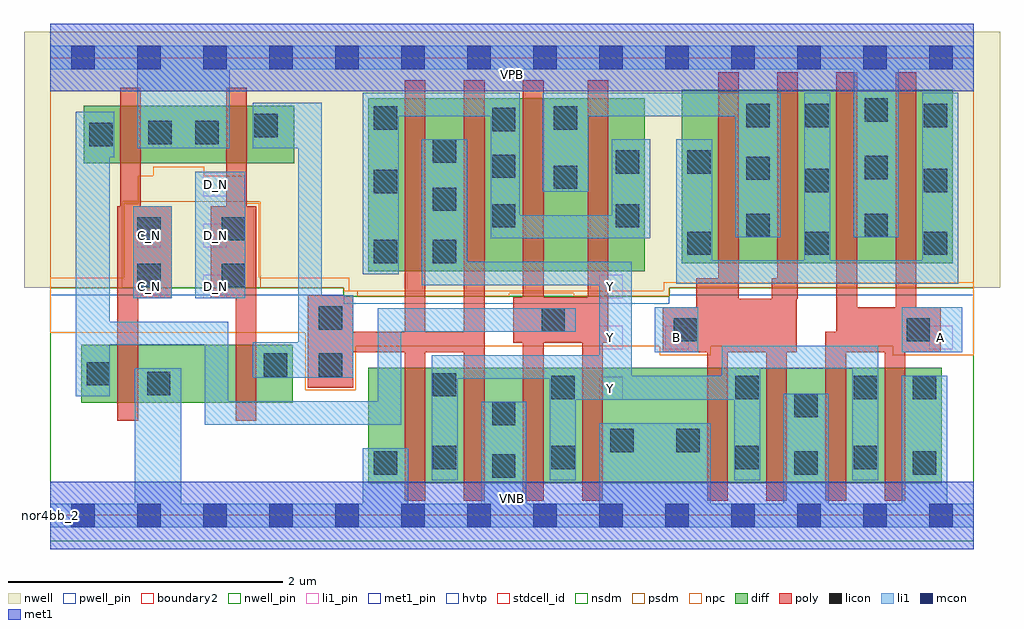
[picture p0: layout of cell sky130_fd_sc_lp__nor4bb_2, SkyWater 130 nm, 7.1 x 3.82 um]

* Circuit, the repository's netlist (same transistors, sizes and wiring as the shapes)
* Copyright 2020 The SkyWater PDK Authors
*
* Licensed under the Apache License, Version 2.0 (the "License");
* you may not use this file except in compliance with the License.
* You may obtain a copy of the License at
*
*     https://www.apache.org/licenses/LICENSE-2.0
*
* Unless required by applicable law or agreed to in writing, software
* distributed under the License is distributed on an "AS IS" BASIS,
* WITHOUT WARRANTIES OR CONDITIONS OF ANY KIND, either express or implied.
* See the License for the specific language governing permissions and
* limitations under the License.
*
* SPDX-License-Identifier: Apache-2.0

.SUBCKT sky130_fd_sc_lp__nor4bb_2 A B C_N D_N VGND VNB VPB VPWR Y
*.PININFO A:I B:I C_N:I D_N:I VGND:I VNB:I VPB:I VPWR:I Y:O
MMP0 VPWR A sndPA VPB sky130_fd_pr__pfet_01v8_hvt m=2 w=1.26U l=0.15U mult=1 sa=0.265
+ sb=0.265 sd=0.28 area=0.063 perim=1.14
MMP1 sndPA B sndPB VPB sky130_fd_pr__pfet_01v8_hvt m=2 w=1.26U l=0.15U mult=1 sa=0.265
+ sb=0.265 sd=0.28 area=0.063 perim=1.14
MMP2 sndPB C sndPC VPB sky130_fd_pr__pfet_01v8_hvt m=2 w=1.26U l=0.15U mult=1 sa=0.265
+ sb=0.265 sd=0.28 area=0.063 perim=1.14
MMP3 sndPC D Y VPB sky130_fd_pr__pfet_01v8_hvt m=2 w=1.26U l=0.15U mult=1 sa=0.265
+ sb=0.265 sd=0.28 area=0.063 perim=1.14
MMIP2 C C_N VPWR VPB sky130_fd_pr__pfet_01v8_hvt m=1 w=0.42U l=0.15U mult=1 sa=0.265
+ sb=0.265 sd=0.28 area=0.063 perim=1.14
MMIP3 D D_N VPWR VPB sky130_fd_pr__pfet_01v8_hvt m=1 w=0.42U l=0.15U mult=1 sa=0.265
+ sb=0.265 sd=0.28 area=0.063 perim=1.14
MMN0 Y A VGND VNB sky130_fd_pr__nfet_01v8 m=2 w=0.84U l=0.15U mult=1 sa=0.265 sb=0.265
+ sd=0.28 area=0.063 perim=1.14
MMN1 Y B VGND VNB sky130_fd_pr__nfet_01v8 m=2 w=0.84U l=0.15U mult=1 sa=0.265 sb=0.265
+ sd=0.28 area=0.063 perim=1.14
MMN2 Y C VGND VNB sky130_fd_pr__nfet_01v8 m=2 w=0.84U l=0.15U mult=1 sa=0.265 sb=0.265
+ sd=0.28 area=0.063 perim=1.14
MMN3 Y D VGND VNB sky130_fd_pr__nfet_01v8 m=2 w=0.84U l=0.15U mult=1 sa=0.265 sb=0.265
+ sd=0.28 area=0.063 perim=1.14
MMIN2 C C_N VGND VNB sky130_fd_pr__nfet_01v8 m=1 w=0.42U l=0.15U mult=1 sa=0.265
+ sb=0.265 sd=0.28 area=0.063 perim=1.14
MMIN3 D D_N VGND VNB sky130_fd_pr__nfet_01v8 m=1 w=0.42U l=0.15U mult=1 sa=0.265
+ sb=0.265 sd=0.28 area=0.063 perim=1.14
.ENDS sky130_fd_sc_lp__nor4bb_2

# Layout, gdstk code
import gdstk
lib = gdstk.Library(unit=1e-6, precision=1e-09)
def R(c, l, rs):  # rectangles x0, y0, x1, y1
    for r in rs: c.add(gdstk.rectangle(r[:2], r[2:], *l))
def A(c, l, x, y, w, h, nx, ny, dx, dy):  # array of equal rectangles
    R(c, l, [(x+i*dx, y+j*dy, x+i*dx+w, y+j*dy+h) for i in range(nx) for j in range(ny)])
def P(c, l, *ps):  # polygons
    for p in ps: c.add(gdstk.Polygon(p, *l))
nwell_pin = (64, 16)
nwell = (64, 20)
diff = (65, 20)
poly = (66, 20)
licon = (66, 44)
li1_pin = (67, 16)
li1 = (67, 20)
mcon = (67, 44)
met1_pin = (68, 16)
met1 = (68, 20)
hvtp = (78, 44)
stdcell_id = (81, 4)
nsdm = (93, 44)
psdm = (94, 20)
npc = (95, 20)
pwell_pin = (122, 16)
boundary2 = (236, 0)

sky130_fd_sc_lp__nor4bb_ = lib.new_cell('sky130_fd_sc_lp__nor4bb_2')
R(sky130_fd_sc_lp__nor4bb_, nwell_pin, [(0,3.085,6.72,3.33)])
P(sky130_fd_sc_lp__nor4bb_, nwell, [(6.91,3.52),(-0.19,3.52),(-0.19,1.655),(2.135,1.655),(2.135,1.595),(4.505,1.595),(4.505,1.655),(6.91,1.655)])
R(sky130_fd_sc_lp__nor4bb_, diff, [(2.315,0.235,6.485,1.075), (0.225,0.82,1.765,1.24), (2.315,1.775,4.325,3.035), (4.595,1.835,6.565,3.095), (0.245,2.56,1.775,2.98)])
P(sky130_fd_sc_lp__nor4bb_, poly, [(0.885,2.25),(0.66,2.25),(0.66,3.11),(0.51,3.11),(0.51,2.25),(0.49,2.25),(0.49,0.69),(0.64,0.69),(0.64,1.58),(0.885,1.58)],
  [(1.5,2.25),(1.43,2.25),(1.43,3.11),(1.28,3.11),(1.28,2.25),(1.17,2.25),(1.17,1.58),(1.35,1.58),(1.35,0.69),(1.5,0.69)],
  [(3.16,3.165),(3.01,3.165),(3.01,1.335),(2.73,1.335),(2.73,3.165),(2.58,3.165),(2.58,1.335),(2.205,1.335),(2.205,1.6),(1.875,1.6),(1.875,0.93),(2.205,0.93),(2.205,1.185),(2.58,1.185),(2.58,0.105),(2.73,0.105),(2.73,1.185),(3.01,1.185),(3.01,0.105),(3.16,0.105)],
  [(4.06,3.165),(3.91,3.165),(3.91,1.585),(3.59,1.585),(3.59,3.165),(3.44,3.165),(3.44,1.585),(3.37,1.585),(3.37,1.255),(3.44,1.255),(3.44,0.105),(3.59,0.105),(3.59,1.255),(3.87,1.255),(3.87,0.105),(4.02,0.105),(4.02,1.255),(4.06,1.255)],
  [(5.44,3.225),(5.29,3.225),(5.29,1.725),(5.25,1.725),(5.25,1.575),(5.01,1.575),(5.01,3.225),(4.86,3.225),(4.86,1.725),(4.7,1.725),(4.7,1.515),(4.455,1.515),(4.455,1.185),(4.78,1.185),(4.78,0.105),(4.93,0.105),(4.93,1.185),(5.21,1.185),(5.21,0.105),(5.36,0.105),(5.36,1.185),(5.43,1.185),(5.43,1.575),(5.44,1.575)],
  [(6.48,1.515),(6.3,1.515),(6.3,3.225),(6.15,3.225),(6.15,1.515),(5.87,1.515),(5.87,3.225),(5.72,3.225),(5.72,1.335),(5.64,1.335),(5.64,0.105),(5.79,0.105),(5.79,1.185),(6.07,1.185),(6.07,0.105),(6.22,0.105),(6.22,1.185),(6.48,1.185)])
A(sky130_fd_sc_lp__nor4bb_, licon, 4.635, 1.895, 0.17, 0.17, 3, 1, 0.86, 0)
A(sky130_fd_sc_lp__nor4bb_, licon, 5.925, 2.025, 0.17, 0.17, 1, 3, 0, 0.42)
R(sky130_fd_sc_lp__nor4bb_, licon, [(3.215,0.275,3.385,0.445), (2.355,0.295,2.525,0.465), (5.415,0.295,5.585,0.465), (6.275,0.295,6.445,0.465), (2.785,0.335,2.955,0.505), (3.645,0.335,3.815,0.505), (4.985,0.335,5.155,0.505), (5.845,0.335,6.015,0.505), (4.075,0.46,4.245,0.63), (4.555,0.46,4.725,0.63), (3.215,0.655,3.385,0.825), (5.415,0.715,5.585,0.885), (3.645,0.845,3.815,1.015), (4.985,0.845,5.155,1.015), (5.845,0.845,6.015,1.015), (6.275,0.845,6.445,1.015), (2.785,0.865,2.955,1.035), (0.705,0.875,0.875,1.045), (0.265,0.945,0.435,1.115), (1.555,1.01,1.725,1.18), (1.955,1.01,2.125,1.18), (4.535,1.265,4.705,1.435), (6.23,1.265,6.4,1.435), (3.575,1.335,3.745,1.505), (1.955,1.35,2.125,1.52), (0.635,1.66,0.805,1.83), (1.25,1.66,1.42,1.83), (2.355,1.835,2.525,2.005), (2.785,1.835,2.955,2.005), (0.635,2,0.805,2.17), (1.25,2,1.42,2.17), (5.065,2.025,5.235,2.195), (3.215,2.095,3.385,2.265), (4.115,2.095,4.285,2.265), (2.785,2.215,2.955,2.385), (2.355,2.345,2.525,2.515), (5.495,2.35,5.665,2.52), (6.355,2.35,6.525,2.52), (3.665,2.375,3.835,2.545), (5.065,2.44,5.235,2.61), (3.215,2.455,3.385,2.625), (4.115,2.485,4.285,2.655), (4.635,2.485,4.805,2.655), (2.785,2.565,2.955,2.735), (0.285,2.685,0.455,2.855), (0.715,2.7,0.885,2.87), (1.055,2.7,1.225,2.87), (1.485,2.75,1.655,2.92), (3.215,2.795,3.385,2.965), (2.355,2.805,2.525,2.975), (3.665,2.805,3.835,2.975), (5.065,2.825,5.235,2.995), (5.495,2.825,5.665,2.995), (6.355,2.825,6.525,2.995)])
A(sky130_fd_sc_lp__nor4bb_, li1_pin, 3.995, 0.84, 0.17, 0.17, 1, 3, 0, 0.37)
A(sky130_fd_sc_lp__nor4bb_, li1_pin, 1.115, 1.58, 0.17, 0.17, 1, 3, 0, 0.37)
R(sky130_fd_sc_lp__nor4bb_, li1_pin, [(4.475,1.21,4.645,1.38), (6.395,1.21,6.565,1.38), (0.635,1.58,0.805,1.75), (0.635,1.95,0.805,2.12)])
R(sky130_fd_sc_lp__nor4bb_, li1, [(4.4,1.185,4.715,1.515), (6.195,1.185,6.635,1.515), (0.605,1.58,0.885,2.25), (1.055,1.58,1.42,2.5)])
P(sky130_fd_sc_lp__nor4bb_, li1, [(0.635,2.67),(0.635,3.245),(0,3.245),(0,3.415),(6.72,3.415),(6.72,3.245),(6.175,3.245),(6.175,2.025),(5.845,2.025),(5.845,3.245),(1.305,3.245),(1.305,2.67)],
  [(3.135,0.085),(3.135,0.825),(3.465,0.825),(3.465,0.085),(3.995,0.085),(3.995,0.67),(4.805,0.67),(4.805,0.085),(5.335,0.085),(5.335,0.885),(5.665,0.885),(5.665,0.085),(6.195,0.085),(6.195,1.015),(6.525,1.015),(6.525,0.085),(6.72,0.085),(6.72,-0.085),(0,-0.085),(0,0.085),(0.615,0.085),(0.615,1.07),(0.955,1.07),(0.955,0.085),(2.275,0.085),(2.275,0.49),(2.605,0.49),(2.605,0.085)],
  [(2.385,1.505),(3.825,1.505),(3.825,1.335),(2.555,1.335),(2.555,0.66),(1.125,0.66),(1.125,1.24),(0.435,1.24),(0.435,0.865),(0.185,0.865),(0.185,2.935),(0.465,2.935),(0.465,2.605),(0.435,2.605),(0.435,1.41),(1.295,1.41),(1.295,0.83),(2.385,0.83)],
  [(1.475,2.67),(1.475,3),(1.975,3),(1.975,1.6),(2.205,1.6),(2.205,1),(1.475,1),(1.475,1.26),(1.805,1.26),(1.805,2.67)],
  [(5.675,1.855),(6.345,1.855),(6.345,3.075),(6.605,3.075),(6.605,1.685),(4.555,1.685),(4.555,2.735),(4.815,2.735),(4.815,1.855),(5.485,1.855),(5.485,3.075),(5.675,3.075)],
  [(4.985,2.905),(3.915,2.905),(3.915,2.355),(3.585,2.355),(3.585,3.075),(5.315,3.075),(5.315,2.025),(4.985,2.025)],
  [(3.415,2.185),(4.085,2.185),(4.085,2.735),(4.365,2.735),(4.365,2.015),(3.205,2.015),(3.205,2.905),(2.535,2.905),(2.535,1.755),(2.275,1.755),(2.275,3.075),(3.415,3.075)],
  [(3.035,1.845),(4.23,1.845),(4.23,1.015),(4.885,1.015),(4.885,1.235),(6.025,1.235),(6.025,0.255),(5.835,0.255),(5.835,1.065),(5.165,1.065),(5.165,0.255),(4.975,0.255),(4.975,0.84),(3.825,0.84),(3.825,0.255),(3.635,0.255),(3.635,0.995),(2.965,0.995),(2.965,0.255),(2.775,0.255),(2.775,1.165),(3.995,1.165),(3.995,1.675),(2.705,1.675),(2.705,2.735),(3.035,2.735)])
A(sky130_fd_sc_lp__nor4bb_, mcon, 0.155, -0.085, 0.17, 0.17, 14, 2, 0.48, 3.33)
R(sky130_fd_sc_lp__nor4bb_, met1_pin, [(0,0,6.72,0.245), (0,3.085,6.72,3.33)])
R(sky130_fd_sc_lp__nor4bb_, met1, [(0,-0.245,6.72,0.245), (0,3.085,6.72,3.575)])
P(sky130_fd_sc_lp__nor4bb_, hvtp, [(6.72,3.33),(0,3.33),(0,1.6),(2.135,1.6),(2.135,1.54),(4.505,1.54),(4.505,1.6),(6.72,1.6)])
R(sky130_fd_sc_lp__nor4bb_, stdcell_id, [(0,0,6.72,3.33)])
P(sky130_fd_sc_lp__nor4bb_, nsdm, [(6.72,1.655),(4.505,1.655),(4.505,1.595),(2.135,1.595),(2.135,1.655),(0,1.655),(0,-0.19),(6.72,-0.19)])
P(sky130_fd_sc_lp__nor4bb_, psdm, [(6.72,3.52),(0,3.52),(0,1.655),(0.525,1.655),(0.525,2.28),(1.53,2.28),(1.53,1.655),(2.135,1.655),(2.135,1.63),(2.235,1.63),(2.235,1.595),(3.34,1.595),(3.34,1.615),(3.81,1.615),(3.81,1.595),(4.505,1.595),(4.505,1.655),(6.72,1.655)])
P(sky130_fd_sc_lp__nor4bb_, npc, [(6.72,1.695),(4.465,1.695),(4.465,1.635),(2.175,1.635),(2.175,1.73),(1.52,1.73),(1.52,2.27),(1.415,2.27),(1.415,2.47),(1.12,2.47),(1.12,2.535),(0.75,2.535),(0.75,2.47),(0.64,2.47),(0.64,2.27),(0.535,2.27),(0.535,1.73),(0,1.73),(0,1.33),(1.855,1.33),(1.855,0.91),(2.225,0.91),(2.225,1.23),(4.435,1.23),(4.435,1.165),(4.805,1.165),(4.805,1.23),(6.13,1.23),(6.13,1.165),(6.72,1.165)])
R(sky130_fd_sc_lp__nor4bb_, pwell_pin, [(0,0,6.72,0.245)])
R(sky130_fd_sc_lp__nor4bb_, boundary2, [(0,0,6.72,3.33)])
sky130_fd_sc_lp__nor4bb_.add(gdstk.Label('VNB', (3.36,0.123), layer=64, texttype=59))
sky130_fd_sc_lp__nor4bb_.add(gdstk.Label('VPB', (3.36,3.208), layer=64, texttype=5))
sky130_fd_sc_lp__nor4bb_.add(gdstk.Label('nor4bb_2', (0,0), layer=83, texttype=44))
sky130_fd_sc_lp__nor4bb_.add(gdstk.Label('VPWR', (3.36,3.208), layer=68, texttype=5))
sky130_fd_sc_lp__nor4bb_.add(gdstk.Label('VGND', (3.36,0.123), layer=68, texttype=5))
sky130_fd_sc_lp__nor4bb_.add(gdstk.Label('A', (6.48,1.295), layer=67, texttype=5))
sky130_fd_sc_lp__nor4bb_.add(gdstk.Label('B', (4.56,1.295), layer=67, texttype=5))
sky130_fd_sc_lp__nor4bb_.add(gdstk.Label('C_N', (0.72,1.665), layer=67, texttype=5))
sky130_fd_sc_lp__nor4bb_.add(gdstk.Label('C_N', (0.72,2.035), layer=67, texttype=5))
sky130_fd_sc_lp__nor4bb_.add(gdstk.Label('D_N', (1.2,1.665), layer=67, texttype=5))
sky130_fd_sc_lp__nor4bb_.add(gdstk.Label('D_N', (1.2,2.035), layer=67, texttype=5))
sky130_fd_sc_lp__nor4bb_.add(gdstk.Label('D_N', (1.2,2.405), layer=67, texttype=5))
sky130_fd_sc_lp__nor4bb_.add(gdstk.Label('Y', (4.08,0.925), layer=67, texttype=5))
sky130_fd_sc_lp__nor4bb_.add(gdstk.Label('Y', (4.08,1.295), layer=67, texttype=5))
sky130_fd_sc_lp__nor4bb_.add(gdstk.Label('Y', (4.08,1.665), layer=67, texttype=5))

lib.write_gds('sky130_fd_sc_lp__nor4bb_2.gds')
